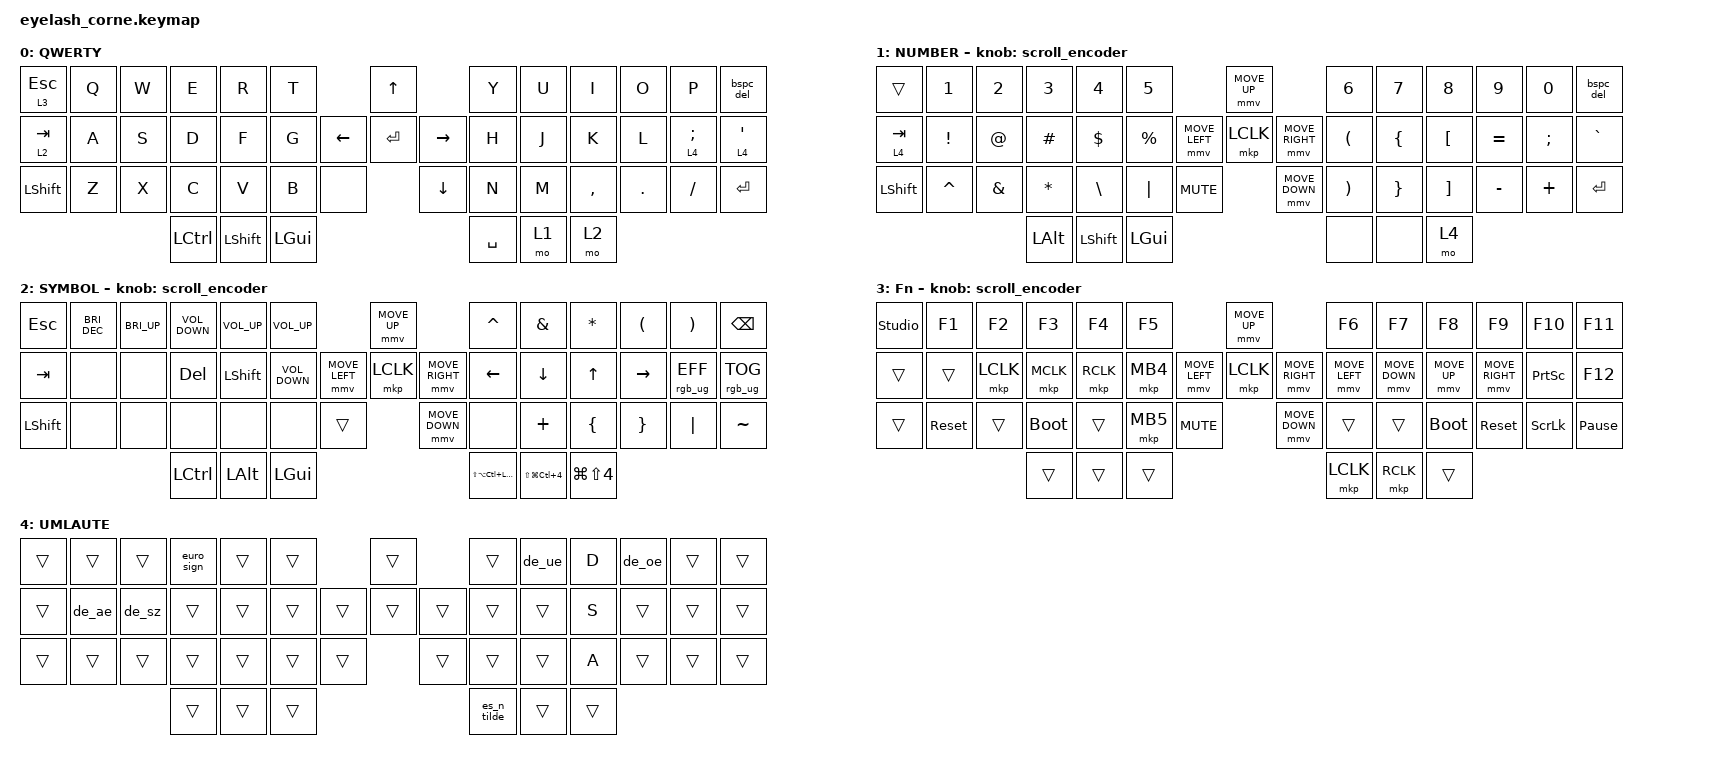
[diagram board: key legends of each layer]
#define ZMK_POINTING_DEFAULT_MOVE_VAL 1200  // 600
#define ZMK_POINTING_DEFAULT_SCRL_VAL 25   // 10

#define HOST_OS 2

#include <behaviors.dtsi>
#include <dt-bindings/zmk/keys.h>
#include <dt-bindings/zmk/pointing.h>
#include <dt-bindings/zmk/rgb.h>


#include "zmk-helpers/helper.h"

// Source desired key-position labels

#include "zmk-helpers/key-labels/eyelash42.h"

// Source unicode-chars for desired languages

#include "zmk-helpers/unicode-chars/german.dtsi"
#include <input/processors.dtsi>
#include <zephyr/dt-bindings/input/input-event-codes.h>

ZMK_UNICODE_PAIR( de_ae,   N0, N0,  E, N4,   N0, N0,  C, N4 ) // ä, Ä
ZMK_UNICODE_PAIR( de_oe,   N0, N0,  F, N6,   N0, N0,  D, N6 ) // ö, Ö
ZMK_UNICODE_PAIR( de_ue,   N0, N0,  F,  C,   N0, N0,  D,  C ) // ü, Ü
ZMK_UNICODE_SINGLE(euro_sign, N2, N0, A, C) // €
ZMK_UNICODE_SINGLE(de_sz, N0, N0, D, F) // ß 
ZMK_UNICODE_PAIR(es_n_tilde,        N0, N0, F, N1,  N0, N0, D, N1)  // ñ/Ñ 

&mmv_input_listener { input-processors = <&zip_xy_scaler 2 1>; };

&msc_input_listener { input-processors = <&zip_scroll_scaler 2 1>; };

&msc {
    acceleration-exponent = <1>;      // 0
    time-to-max-speed-ms = <100>;       // 300
    delay-ms = <0>;                   // 0
};

&mmv {
    time-to-max-speed-ms = <500>;
    acceleration-exponent = <1>;
    trigger-period-ms = <16>;
};

/ {
    behaviors {
        td0: td0 {
            compatible = "zmk,behavior-tap-dance";
            display-name = "Shift/Caps Lock Tap Dance";
            #binding-cells = <0>;
            bindings = <&kp LEFT_SHIFT>, <&kp CAPS>;
        };

        bspc_del: backspace_delete {
            compatible = "zmk,behavior-mod-morph";
            #binding-cells = <0>;
            bindings = <&kp BACKSPACE>, <&kp DELETE>;

            mods = <(MOD_LSFT|MOD_RSFT)>;
            keep-mods = <(MOD_RSFT)>;
        };
    };

    rgb_encoder: rgb_encoder {
        compatible = "zmk,behavior-sensor-rotate";
        #sensor-binding-cells = <0>;
        bindings = <&rgb_ug RGB_BRI>, <&rgb_ug RGB_BRD>;
    };

    scroll_encoder: scroll_encoder {
        compatible = "zmk,behavior-sensor-rotate";
        #sensor-binding-cells = <0>;
        bindings = <&msc SCRL_DOWN>, <&msc SCRL_UP>;

        tap-ms = <100>;
    };

    macros {
        macro_ue: ue {
            compatible = "zmk,behavior-macro";
            #binding-cells = <0>;
            bindings = <&kp LEFT_ALT &kp U>;
            label = "UE";
        };

        umlaut_a: umlaut_a {
            compatible = "zmk,behavior-macro";
            #binding-cells = <0>;
            label = "Unicode Ä";
            bindings =
                <&macro_tap>,
                <&kp LC(LS(U))>,
                <&macro_tap>,
                <&kp N0>,
                <&macro_tap>,
                <&kp N0>,
                <&macro_tap>,
                <&kp E>,
                <&macro_tap>,
                <&kp N4>,
                <&macro_tap>,
                <&kp ENTER>;
        };
    };

    keymap {
        compatible = "zmk,keymap";

        default_layer {
            display-name = "QWERTY";
            bindings = <
&lt 3 ESCAPE    &kp Q  &kp W  &kp E             &kp R           &kp T                            &kp UP                &kp Y      &kp U  &kp I      &kp O    &kp P            &bspc_del
&lt 2 TAB       &kp A  &kp S  &kp D             &kp F           &kp G                  &kp LEFT  &kp ENTER  &kp RIGHT  &kp H      &kp J  &kp K      &kp L    &lt 4 SEMICOLON  &lt 4 APOS
&kp LEFT_SHIFT  &kp Z  &kp X  &kp C             &kp V           &kp B         &none              &kp DOWN              &kp N      &kp M  &kp COMMA  &kp DOT  &kp FSLH         &kp RETURN
                              &kp LEFT_CONTROL  &kp LEFT_SHIFT  &kp LEFT_GUI                                           &kp SPACE  &mo 1  &mo 2
            >;
        };

        lower_layer {
            display-name = "NUMBER";
            bindings = <
&trans          &kp N1     &kp N2         &kp N3        &kp N4          &kp N5                                      &mmv MOVE_UP                     &kp N6                 &kp N7           &kp N8    &kp N9     &kp N0     &bspc_del
&lt 4 TAB       &kp EXCL   &kp AT_SIGN    &kp HASH      &kp DOLLAR      &kp PERCENT                 &mmv MOVE_LEFT  &mkp LCLK       &mmv MOVE_RIGHT  &kp LEFT_PARENTHESIS   &kp LEFT_BRACE   &kp LBKT  &kp EQUAL  &kp SEMICOLON  &kp GRAVE
&kp LEFT_SHIFT  &kp CARET  &kp AMPERSAND  &kp ASTERISK  &kp BACKSLASH   &kp PIPE      &kp C_MUTE                    &mmv MOVE_DOWN                   &kp RIGHT_PARENTHESIS  &kp RIGHT_BRACE  &kp RBKT  &kp MINUS  &kp PLUS   &kp ENTER
                                          &kp LEFT_ALT  &kp LEFT_SHIFT  &kp LEFT_GUI                                                                 &none                  &none            &mo 4
            >;

            sensor-bindings = <&scroll_encoder>;
        };

        raise_layer {
            display-name = "SYMBOL";
            bindings = <
&kp ESCAPE      &kp C_BRI_DEC  &kp C_BRI_UP  &kp C_VOLUME_DOWN  &kp C_VOLUME_UP  &kp C_VOLUME_UP                              &mmv MOVE_UP                     &kp CARET                 &kp AMPS                  &kp ASTRK             &kp LPAR   &kp RPAR  &kp BACKSPACE
&kp TAB         &none          &none         &kp DELETE         &kp LEFT_SHIFT   &kp C_VOLUME_DOWN            &mmv MOVE_LEFT  &mkp LCLK       &mmv MOVE_RIGHT  &kp LEFT                  &kp DOWN                  &kp UP                &kp RIGHT  &rgb_ug RGB_EFF  &rgb_ug RGB_TOG
&kp LEFT_SHIFT  &none          &none         &none              &none            &none              &trans                    &mmv MOVE_DOWN                   &none                     &kp PLUS                  &kp LBRC              &kp RBRC   &kp PIPE  &kp TILDE
                                             &kp LCTRL          &kp LEFT_ALT     &kp LEFT_GUI                                                                  &kp LS(LA(LC(LEFT_GUI)))  &kp LS(LG(LC(NUMBER_4)))  &kp LG(LS(NUMBER_4))
            >;

            sensor-bindings = <&scroll_encoder>;
        };

        layer_3 {
            display-name = "Fn";
            bindings = <
&studio_unlock  &kp F1      &kp F2     &kp F3       &kp F4     &kp F5                                  &mmv MOVE_UP                     &kp F6          &kp F7          &kp F8        &kp F9           &kp F10          &kp F11
&trans          &trans      &mkp LCLK  &mkp MCLK    &mkp RCLK  &mkp MB4                &mmv MOVE_LEFT  &mkp LCLK       &mmv MOVE_RIGHT  &mmv MOVE_LEFT  &mmv MOVE_DOWN  &mmv MOVE_UP  &mmv MOVE_RIGHT  &kp PRINTSCREEN  &kp F12
&trans          &sys_reset  &trans     &bootloader  &trans     &mkp MB5  &kp C_MUTE                    &mmv MOVE_DOWN                   &trans          &trans          &bootloader   &sys_reset       &kp SCROLLLOCK   &kp PAUSE_BREAK
                                       &trans       &trans     &trans                                                                   &mkp LCLK       &mkp RCLK       &trans
            >;

            sensor-bindings = <&scroll_encoder>;
        };

        UMLAUTE {
            bindings = <
&trans  &trans     &trans     &euro_sign  &trans  &trans                    &trans          &trans  &de_ue  &kp D   &de_oe  &trans  &trans
&trans  &de_ae  &de_sz  &trans     &trans  &trans            &trans  &trans  &trans  &trans  &trans  &kp S   &trans     &trans  &trans
&trans  &trans     &trans     &trans     &trans  &trans  &trans            &trans          &trans  &trans  &kp A   &trans     &trans  &trans
                              &trans     &trans  &trans                                    &es_n_tilde  &trans  &trans
            >;
        };
    };

    conditional_layers { compatible = "zmk,conditional-layers"; };
};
